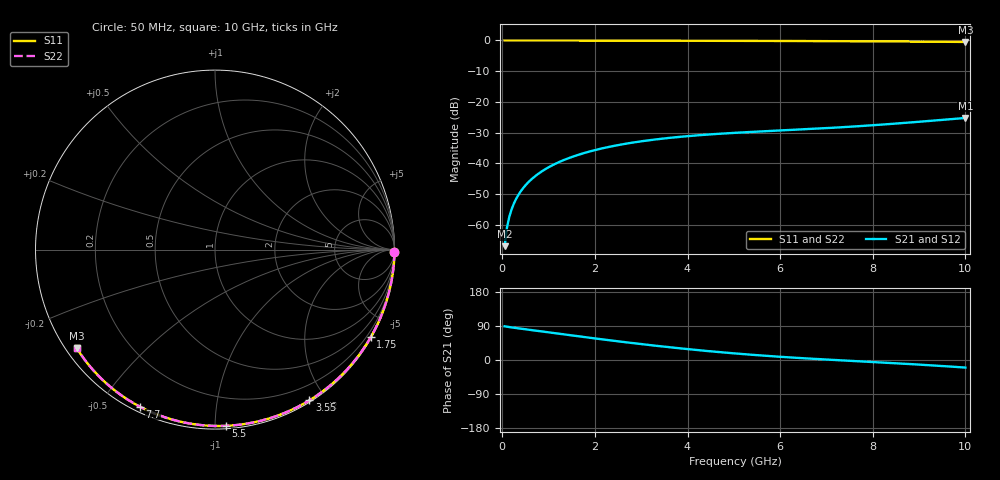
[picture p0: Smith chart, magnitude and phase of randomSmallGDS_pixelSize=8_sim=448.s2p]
! freq	dB(S11)	phase(S11)	dB(S12)	phase(S12)
!  dB(S21)	phase(S21)	dB(S22)	phase(S22)
!S-par simulation data
#  GHz  S  DB  R 50
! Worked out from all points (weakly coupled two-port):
!   200 points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, 50 MHz to 10 GHz, reference 50 ohm
!   highest |S21| = -25.24 dB at 10 GHz (marker M1); lowest = -67.0 dB at 50 MHz (marker M2)
!   lowest |S11| = -0.5 dB at 10 GHz (marker M3), VSWR 35.94, Z = 1.53 - j16 ohm
!   |S11| at or under -10 dB: nowhere
!   |S22| runs from -0.5 to 0.0 dB; largest |S21 - S12| = 0
!   S11 on the Smith chart (normalised r, x): 50 MHz: open; 1.75 GHz: 0.03, -3.82; 3.55 GHz: 0.02, -1.81; 5.5 GHz: 0.02, -1.07; 7.7 GHz: 0.02, -0.63; 10 GHz: 0.03, -0.32
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0.05  -0.00 -0.9  -67.01 88.9  -67.01 88.9  -0.00 -0.9
0.1  -0.00 -1.7  -61.01 87.9  -61.01 87.9  -0.00 -1.7
0.15  -0.00 -2.6  -57.51 86.9  -57.51 86.9  -0.00 -2.6
0.2  -0.00 -3.4  -55.04 86.0  -55.04 86.0  -0.00 -3.4
0.25  -0.00 -4.3  -53.13 85.1  -53.13 85.1  -0.00 -4.3
0.35  -0.00 -6.0  -50.24 83.5  -50.24 83.5  -0.00 -6.0
0.5  -0.01 -8.5  -47.19 81.1  -47.19 81.1  -0.01 -8.5
0.7  -0.01 -11.9  -44.32 77.8  -44.32 77.8  -0.01 -11.9
1  -0.02 -16.9  -41.31 72.9  -41.31 72.9  -0.02 -16.9
1.35  -0.03 -22.7  -38.82 67.2  -38.82 67.2  -0.03 -22.7
1.75  -0.04 -29.3  -36.75 60.8  -36.75 60.8  -0.04 -29.3
2.5  -0.05 -41.5  -34.08 49.3  -34.08 49.3  -0.05 -41.5
3.4  -0.08 -55.6  -32.08 36.5  -32.08 36.5  -0.08 -55.6
3.55  -0.08 -57.9  -31.83 34.5  -31.83 34.5  -0.08 -57.9
4.3  -0.10 -69.2  -30.81 25.2  -30.81 25.2  -0.10 -69.2
5.05  -0.12 -80.0  -30.06 17.1  -30.06 17.1  -0.12 -80.0
5.5  -0.14 -86.4  -29.70 12.8  -29.70 12.8  -0.14 -86.4
6.7  -0.20 -102.6  -28.79 3.2  -28.79 3.2  -0.20 -102.6
7.7  -0.26 -115.6  -27.92 -3.3  -27.92 -3.3  -0.26 -115.6
8.35  -0.32 -123.9  -27.24 -7.6  -27.24 -7.6  -0.32 -123.9
9.2  -0.40 -134.5  -26.25 -13.6  -26.25 -13.6  -0.39 -134.5
10  -0.48 -144.4  -25.24 -20.0  -25.24 -20.0  -0.48 -144.4
